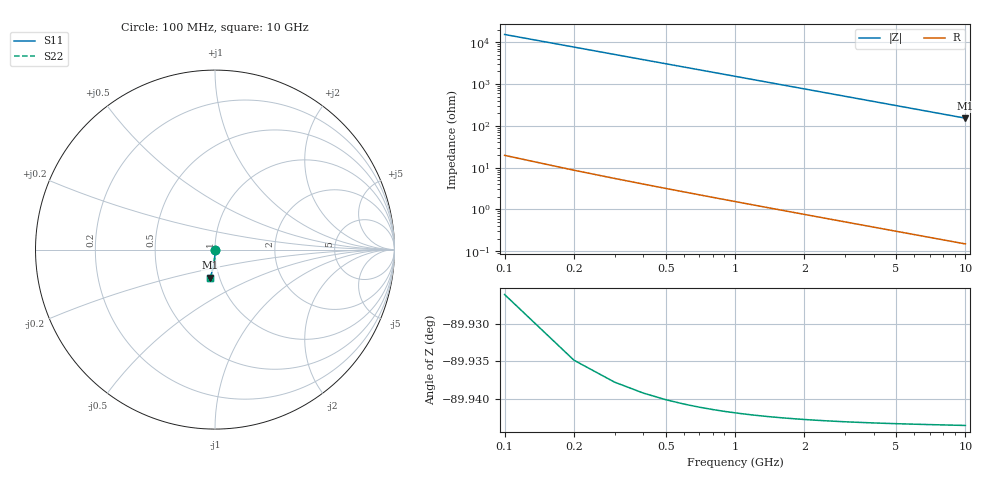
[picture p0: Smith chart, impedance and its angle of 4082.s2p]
# Hz S RI R 50.00
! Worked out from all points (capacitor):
!   100 points, 100 MHz to 10 GHz, reference 50 ohm
!   read as one part in shunt: C = 105 fF near 100 MHz
!   lowest |Z| = 152 ohm at 10 GHz (marker M1)
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1e8  1.82e-05 -0.0016  1 -0.00168  1 -0.00168  1.82e-05 -0.0016
2e8  8.62e-06 -0.0032  1 -0.00337  1 -0.00337  8.62e-06 -0.0032
3e8  -6.37e-06 -0.00481  0.9999 -0.00505  0.9999 -0.00505  -6.37e-06 -0.00481
4e8  -2.68e-05 -0.00641  0.9999 -0.00674  0.9999 -0.00674  -2.68e-05 -0.00641
5e8  -5.26e-05 -0.00801  0.9999 -0.00842  0.9999 -0.00842  -5.26e-05 -0.00801
6e8  -8.38e-05 -0.00961  0.9999 -0.0101  0.9999 -0.0101  -8.38e-05 -0.00961
7e8  -0.00012 -0.0112  0.9998 -0.0118  0.9998 -0.0118  -0.00012 -0.0112
8e8  -0.000162 -0.0128  0.9998 -0.0135  0.9998 -0.0135  -0.000162 -0.0128
9e8  -0.00021 -0.0144  0.9997 -0.0152  0.9997 -0.0152  -0.00021 -0.0144
1.1e9  -0.000321 -0.0176  0.9996 -0.0185  0.9996 -0.0185  -0.000321 -0.0176
1.4e9  -0.000528 -0.0224  0.9994 -0.0236  0.9994 -0.0236  -0.000528 -0.0224
1.8e9  -0.000879 -0.0288  0.9991 -0.0303  0.9991 -0.0303  -0.000879 -0.0288
2.1e9  -0.0012 -0.0336  0.9988 -0.0353  0.9988 -0.0353  -0.0012 -0.0336
2.5e9  -0.0017 -0.04  0.9982 -0.0421  0.9982 -0.0421  -0.0017 -0.04
2.9e9  -0.00229 -0.0464  0.9977 -0.0488  0.9977 -0.0488  -0.00229 -0.0464
3.4e9  -0.00314 -0.0543  0.9968 -0.0571  0.9968 -0.0571  -0.00314 -0.0543
4.2e9  -0.00479 -0.067  0.9952 -0.0705  0.9952 -0.0705  -0.00479 -0.067
5.1e9  -0.00704 -0.0812  0.9929 -0.0854  0.9929 -0.0854  -0.00704 -0.0812
5.9e9  -0.0094 -0.0937  0.9905 -0.0986  0.9905 -0.0986  -0.0094 -0.0937
6.7e9  -0.0121 -0.1062  0.9878 -0.1117  0.9878 -0.1117  -0.0121 -0.1062
8.4e9  -0.0189 -0.1322  0.981 -0.1392  0.981 -0.1392  -0.0189 -0.1322
1e10  -0.0265 -0.1562  0.9734 -0.1646  0.9734 -0.1646  -0.0265 -0.1562
